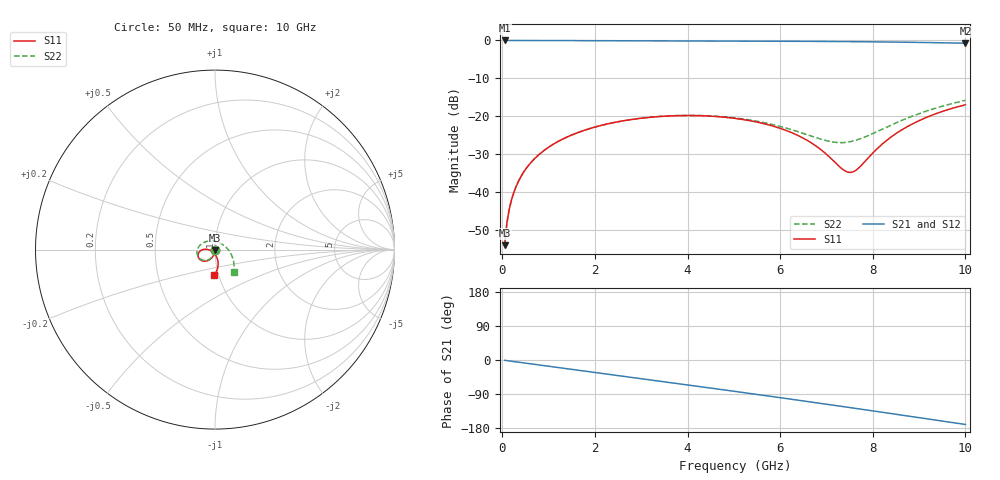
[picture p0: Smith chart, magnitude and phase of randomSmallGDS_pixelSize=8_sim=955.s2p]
! freq	dB(S11)	phase(S11)	dB(S12)	phase(S12)
!  dB(S21)	phase(S21)	dB(S22)	phase(S22)
!S-par simulation data
#  GHz  S  DB  R 50
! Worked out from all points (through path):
!   200 points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, 50 MHz to 10 GHz, reference 50 ohm
!   highest |S21| = 0.00 dB at 50 MHz (marker M1); lowest = -0.7 dB at 10 GHz (marker M2)
!   group delay of S21, straight-line fit = 47.1 ps
!   lowest |S11| = -54.1 dB at 50 MHz (marker M3), VSWR 1.00, Z = 50 - j0.197 ohm
!   |S11| at or under -10 dB: start of sweep to end of sweep
!   |S22| runs from -54.3 to -15.8 dB; largest |S21 - S12| = 0
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0.05  -54.13 -90.3  -0.00 -0.8  -0.00 -0.8  -54.32 -91.3
0.1  -48.10 -91.6  -0.00 -1.7  -0.00 -1.7  -48.18 -92.9
0.15  -44.57 -92.6  -0.00 -2.5  -0.00 -2.5  -44.57 -93.8
0.2  -42.05 -93.6  -0.00 -3.3  -0.00 -3.3  -42.03 -94.7
0.35  -37.17 -96.2  -0.01 -5.8  -0.01 -5.8  -37.12 -97.0
0.5  -34.07 -98.6  -0.01 -8.3  -0.01 -8.3  -34.04 -99.6
0.7  -31.18 -101.8  -0.02 -11.6  -0.02 -11.6  -31.17 -103.0
1  -28.19 -106.6  -0.02 -16.5  -0.02 -16.5  -28.18 -108.3
1.75  -23.81 -118.5  -0.05 -28.8  -0.05 -28.8  -23.81 -121.6
2.5  -21.46 -130.2  -0.08 -41.1  -0.08 -41.1  -21.46 -135.1
3.4  -20.08 -144.0  -0.11 -55.9  -0.11 -55.9  -20.07 -151.7
4.25  -19.86 -156.8  -0.14 -69.9  -0.14 -69.9  -19.81 -168.4
5.05  -20.62 -168.2  -0.16 -83.3  -0.16 -83.3  -20.50 173.9
6  -23.21 -179.7  -0.20 -99.4  -0.20 -99.4  -22.70 147.0
6.7  -27.25 178.1  -0.24 -111.4  -0.24 -111.4  -25.37 115.8
7.15  -31.78 -169.6  -0.27 -119.3  -0.27 -119.3  -26.83 84.4
7.35  -34.03 -152.1  -0.29 -122.8  -0.29 -122.8  -26.97 67.6
7.5  -34.86 -131.4  -0.30 -125.4  -0.30 -125.4  -26.77 54.8
7.7  -33.62 -103.7  -0.33 -128.9  -0.33 -128.9  -26.11 38.6
8.35  -25.91 -75.8  -0.41 -140.5  -0.41 -140.5  -22.60 -0.6
9.05  -20.90 -79.0  -0.52 -153.0  -0.52 -153.0  -19.11 -26.3
10  -16.99 -91.9  -0.72 -170.1  -0.72 -170.1  -15.82 -50.4
